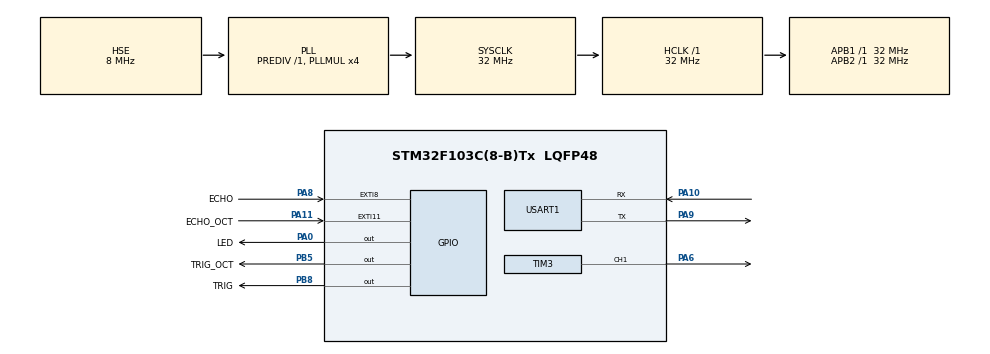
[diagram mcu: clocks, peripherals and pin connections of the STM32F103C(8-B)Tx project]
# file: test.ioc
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Mcu.Family=STM32F1
Mcu.Name=STM32F103C(8-B)Tx
Mcu.Package=LQFP48
NVIC.EXTI15_10_IRQn=true\:0\:0\:false\:false\:true\:true\:true\:true
NVIC.EXTI9_5_IRQn=true\:0\:0\:false\:false\:true\:true\:true\:true
NVIC.PriorityGroup=NVIC_PRIORITYGROUP_4
NVIC.TIM2_IRQn=true\:0\:0\:false\:false\:true\:true\:true\:true
NVIC.USART1_IRQn=true\:0\:0\:false\:false\:true\:true\:true\:true
PA0-WKUP.GPIO_Label=LED
PA0-WKUP.Signal=GPIO_Output
PA10.Mode=Asynchronous
PA10.Signal=USART1_RX
PA11.GPIO_Label=ECHO_OCT
PA11.GPIO_ModeDefaultEXTI=GPIO_MODE_IT_RISING_FALLING
PA11.GPIO_PuPd=GPIO_PULLDOWN
PA11.Signal=GPXTI11
PA13.Mode=Serial_Wire
PA13.Signal=SYS_JTMS-SWDIO
PA14.Mode=Serial_Wire
PA14.Signal=SYS_JTCK-SWCLK
PA6.Signal=S_TIM3_CH1
PA8.GPIO_Label=ECHO
PA8.GPIO_ModeDefaultEXTI=GPIO_MODE_IT_RISING_FALLING
PA8.GPIO_PuPd=GPIO_PULLDOWN
PA8.Signal=GPXTI8
PA9.Mode=Asynchronous
PA9.Signal=USART1_TX
PB5.GPIO_Label=TRIG_OCT
PB5.Signal=GPIO_Output
PB8.GPIO_Label=TRIG
PB8.Signal=GPIO_Output
PD0-OSC_IN.Mode=HSE-External-Oscillator
PD0-OSC_IN.Signal=RCC_OSC_IN
PD1-OSC_OUT.Mode=HSE-External-Oscillator
PD1-OSC_OUT.Signal=RCC_OSC_OUT
ProjectManager.HeapSize=0x200
ProjectManager.StackSize=0x400
ProjectManager.TargetToolchain=STM32CubeIDE
RCC.AHBFreq_Value=32000000
RCC.APB1Freq_Value=32000000
RCC.APB1TimFreq_Value=32000000
RCC.APB2Freq_Value=32000000
RCC.APB2TimFreq_Value=32000000
RCC.HCLKFreq_Value=32000000
RCC.PLLMUL=RCC_PLL_MUL4
RCC.PLLSourceVirtual=RCC_PLLSOURCE_HSE
RCC.SYSCLKFreq_VALUE=32000000
RCC.SYSCLKSource=RCC_SYSCLKSOURCE_PLLCLK
RCC.USBFreq_Value=32000000
SH.S_TIM3_CH1.0=TIM3_CH1,PWM Generation1 CH1
TIM2.Period=65535
TIM2.Prescaler=31
TIM3.AutoReloadPreload=TIM_AUTORELOAD_PRELOAD_ENABLE
TIM3.Channel-PWM\ Generation1\ CH1=TIM_CHANNEL_1
TIM3.OCMode_PWM-PWM\ Generation1\ CH1=TIM_OCMODE_PWM1
TIM3.Period=60000
TIM3.Prescaler=31
TIM3.Pulse-PWM\ Generation1\ CH1=30000
USART1.VirtualMode=VM_ASYNC
VP_TIM2_VS_ClockSourceINT.Mode=Internal
VP_TIM3_VS_ClockSourceINT.Mode=Internal
VP_TIM4_VS_ClockSourceINT.Mode=Internal
board=custom

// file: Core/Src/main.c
/* USER CODE BEGIN Header */
/**
 ******************************************************************************
 * @file           : main.c
 * @brief          : Main program body
 ******************************************************************************
 * @attention
 *
 * Copyright (c) 2025 STMicroelectronics.
 * All rights reserved.
 *
 * This software is licensed under terms that can be found in the LICENSE file
 * in the root directory of this software component.
 * If no LICENSE file comes with this software, it is provided AS-IS.
 *
 ******************************************************************************
 */
/* USER CODE END Header */
#include "main.h"

/* USER CODE BEGIN Includes */
#include "stdio.h"

#include "string.h"

/* USER CODE END Includes */

TIM_HandleTypeDef htim2;
TIM_HandleTypeDef htim3;
TIM_HandleTypeDef htim4;

UART_HandleTypeDef huart1;

/* USER CODE BEGIN PV */
sr04_t sr04_note = {
    .trig_port = TRIG_GPIO_Port,
    .trig_pin = TRIG_Pin,
    .echo_htim = & htim4,
    .capture_flag = 0,
    .time = 0,
    .time_begin = 0,
    .time_end = 0,
    .last_time = 20,
    .counter = 0,
};

sr04_t sr04_oct = {
    .trig_port = TRIG_OCT_GPIO_Port,
    .trig_pin = TRIG_OCT_Pin,
    .echo_htim = & htim2,
    .capture_flag = 0,
    .time = 0,
    .time_begin = 0,
    .time_end = 0,
    .last_time = 20,
    .counter = 0,
};

char trans_str[64] = {
    0,
};
uint32_t f, signal_time, n_octaves, n_notes, first_octave, distance_begin_note, distance_begin_oct, distance_end_note, distance_end_oct, width_note, width_oct, in_seg_note, last_in_seg_note, in_seg_oct, last_in_seg_oct, buf, width_seg_note, width_seg_oct;
uint32_t OctaveZero[7] = {
    16,
    18,
    21,
    22,
    25,
    28,
    31
};
uint32_t first_note = 16;
uint8_t bit;
uint8_t get_bits[5] = {
    0,
};
uint32_t dist_note_table[7][2];
    uint32_t dist_oct_table[6][2];
/* USER CODE END PV */

void SystemClock_Config(void);
static void MX_GPIO_Init(void);
static void MX_TIM2_Init(void);
static void MX_USART1_UART_Init(void);
static void MX_TIM3_Init(void);
static void MX_TIM4_Init(void);
/* USER CODE BEGIN PFP */
void Timer_OverflowHandler(void);
/* USER CODE END PFP */

/* USER CODE BEGIN 0 */
static void Tone(uint32_t Frequency) {
    TIM3 -> ARR = (1000000UL / Frequency) - 1; // Set The PWM Frequency
    TIM3 -> CCR1 = (TIM3 -> ARR >> 1); // Set Duty Cycle 50%
}

void sr04_trigger(sr04_t * sr04) {
    if (!(sr04 -> capture_flag)) {
        HAL_GPIO_WritePin(sr04 -> trig_port, sr04 -> trig_pin, GPIO_PIN_SET);
        HAL_Delay(1);
        HAL_GPIO_WritePin(sr04 -> trig_port, sr04 -> trig_pin, GPIO_PIN_RESET);
    } else {
        (sr04 -> counter) ++;
        if ((sr04 -> counter) == 5) {
            sr04 -> counter = 0;
            sr04 -> capture_flag = 0;
            sr04 -> echo_htim -> State = HAL_TIM_STATE_READY;
        }
    }
}

void sr04_measure(sr04_t * sr04) {
    if (sr04 -> echo_htim -> State == HAL_TIM_STATE_READY) //start timer if stopped
    {
        sr04 -> capture_flag = 1;
        __HAL_TIM_SET_COUNTER(sr04 -> echo_htim, 0x0000); // обнуление счётчика
        HAL_TIM_Base_Start_IT(sr04 -> echo_htim);

    } else if (sr04 -> echo_htim -> State == HAL_TIM_STATE_BUSY) //stop timer if started
    {
        HAL_TIM_Base_Stop_IT(sr04 -> echo_htim);
        signal_time = __HAL_TIM_GET_COUNTER(sr04 -> echo_htim);
        sr04 -> time = signal_time / 58;

        sr04 -> last_time = sr04 -> time;
        sr04 -> capture_flag = 0;
    }
}
void HAL_GPIO_EXTI_Callback(uint16_t GPIO_Pin) {
    if (GPIO_Pin == (ECHO_Pin)) {
        sr04_measure( & sr04_note);
    } else if (GPIO_Pin == (ECHO_OCT_Pin)) {
        sr04_measure( & sr04_oct);
    }

}

void init_note_table(uint32_t (*table)[7]) {
    uint32_t i, j;
    for (i = 0; i < 6; i++) {
        for (j = 0; j < 7; j++) {
            table[i][j] = OctaveZero[j] << (i + first_octave);
        }
    }
    width_note = ((sr04_note.time_end - sr04_note.time_begin + buf) / n_notes) + buf;
    width_seg_note = width_note - buf;
    width_oct = ((sr04_oct.time_end - sr04_oct.time_begin + buf) / n_octaves) + buf;
    width_seg_oct = width_oct - buf;
}

void init_dist_table(uint32_t (*table)[2], uint32_t begin, uint32_t end, uint32_t n) {
    uint32_t i;
    uint32_t width = (end - begin + buf) / n;
    for (i = 0; i < n; i++) {
        table[i][0] = begin - buf + i * width;
        table[i][1] = begin + (i + 1) * width;
    }
    if (begin<buf){
    	table[0][0]=0;
    }
}

void error() {
    HAL_UART_Transmit( & huart1, (uint8_t * )
        "Wrong input\n", 11, 1000);
}

void HAL_UART_RxCpltCallback(UART_HandleTypeDef * huart) {
    if (huart == & huart1) {
    	if (bit=='\n'){
    		bit=' ';
    		HAL_UART_Receive_IT( & huart1, (uint8_t * ) get_bits, 5);
    	}
    	else{
        if ((get_bits[0] == 'h') && (get_bits[1] == 'e') && (get_bits[2] == 'l') && (get_bits[3] == 'p') && (get_bits[4] == '\n')) {
            HAL_UART_Transmit( & huart1, (uint8_t * )
                "bn <digit> - set the beginning of note interval equal to <digit> cm. <digit> = 5..25\n"
                "ln <digit> - set the length of note interval equal to <digit> cm. <digit> = 74..99\n"
                "bo <digit> - set the ending of octave interval equal to <digit> cm. <digit> = 5..37\n"
                "lo <digit> - set the length of octave interval equal to <digit> cm. <digit> = 62..99\n"
                "no <digit> - set the number of octaves equal to <digit>. <digit> = 1..6\n"
                "fo <digit> - set the first octave equal to <digit> cm. <digit> = 3..8\n"
                "help - view this menu", 500, 1000);
        } else if ((get_bits[0] == 'b') && (get_bits[1] == 'n')) {
            if ((get_bits[2] == ' ') && (48 <= get_bits[3]) && (get_bits[3] <= 57)) {
                int digit1 = get_bits[3] - '0';
                if ((get_bits[4] == '\n') && (digit1 > 4)) {
                    sr04_note.time_begin = digit1;
                    init_dist_table(dist_note_table, sr04_note.time_begin, sr04_note.time_end, n_notes);
                } else if ((48 <= get_bits[4]) && (get_bits[4] <= 57)) {
                    int digit2 = get_bits[4] - '0';
                    int number = digit1 * 10 + digit2;
                    if (number < 26) {
                        sr04_note.time_begin = digit1 * 10 + digit2;
                        init_dist_table(dist_note_table, sr04_note.time_begin, sr04_note.time_end, n_notes);

                    } else {
                        error();
                    }
                } else {
                    error();
                }
            } else {
                error();
            }
        } else if ((get_bits[0] == 'l') && (get_bits[1] == 'n')) {
            if ((get_bits[2] == ' ') && (48 <= get_bits[3]) && (get_bits[3] <= 57)) {
                int digit1 = get_bits[3] - '0';
                if ((48 <= get_bits[4]) && (get_bits[4] <= 57)) {
                    int digit2 = get_bits[4] - '0';
                    int number = digit1 * 10 + digit2;
                    if ((74 <= number) && (number <= 99)) {
                        sr04_note.time_end = sr04_note.time_begin + digit1 * 10 + digit2;
                        init_dist_table(dist_note_table, sr04_note.time_begin, sr04_note.time_end, n_notes);
                    } else {
                        error();
                    }
                } else {
                    error();
                }
            } else {
                error();
            }
        } else if ((get_bits[0] == 'b') && (get_bits[1] == 'o')) {
            if ((get_bits[2] == ' ') && (48 <= get_bits[3]) && (get_bits[3] <= 57)) {
                int digit1 = get_bits[3] - '0';
                if ((get_bits[4] == '\n') && (digit1 > 4)) {
                    sr04_oct.time_begin = digit1;
                    init_dist_table(dist_oct_table, sr04_oct.time_begin, sr04_oct.time_end, n_octaves);
                } else if ((48 <= get_bits[4]) && (get_bits[4] <= 57)) {
                    int digit2 = get_bits[4] - '0';
                    int number = digit1 * 10 + digit2;
                    if (number < 38) {
                        sr04_oct.time_begin = digit1 * 10 + digit2;
                        init_dist_table(dist_oct_table, sr04_oct.time_begin, sr04_oct.time_end, n_octaves);
                    } else {
                        error();
                    }
                } else {
                    error();
                }
            } else {
                error();
            }
        } else if ((get_bits[0] == 'l') && (get_bits[1] == 'o')) {
            if ((get_bits[2] == ' ') && (48 <= get_bits[3]) && (get_bits[3] <= 57)) {
                int digit1 = get_bits[3] - '0';
                if ((48 <= get_bits[4]) && (get_bits[4] <= 57)) {
                    int digit2 = get_bits[4] - '0';
                    int number = digit1 * 10 + digit2;
                    if ((62 <= number) && (number <= 99)) {
                        sr04_oct.time_end = sr04_oct.time_begin + digit1 * 10 + digit2;
                        init_dist_table(dist_oct_table, sr04_oct.time_begin, sr04_oct.time_end, n_octaves);
                    } else {
                        error();
                    }
                } else {
                    error();
                }
            }
        } else if ((get_bits[0] == 'n') && (get_bits[1] == 'o')) {
            if ((get_bits[2] == ' ') && (48 <= get_bits[3]) && (get_bits[3] <= 57)) {
                int digit1 = get_bits[3] - '0';
                if ((get_bits[4] == '\n') && (digit1 >= 1) && (digit1 <= 6)) {
                    n_octaves = digit1;
                    init_dist_table(dist_oct_table, sr04_oct.time_begin, sr04_oct.time_end, n_octaves);
                }

            } else {
                error();
            }
    } else if ((get_bits[0] == 'f') && (get_bits[1] == 'o')) {
        if ((get_bits[2] == ' ') && (48 <= get_bits[3]) && (get_bits[3] <= 57)) {
            int digit1 = get_bits[3] - '0';
            if ((get_bits[4] == '\n') && ((n_octaves + digit1 - 1) <= 8) && (digit1 > 2)) {
                first_octave = digit1;
            }

        } else {
            error();
        }
    } else {
        error();
    }
    }
	if (get_bits[4] != '\n'){
	    HAL_UART_Receive_IT( & huart1, &bit, 1);
	}
	else{
		HAL_UART_Receive_IT( & huart1, (uint8_t * ) get_bits, 5);
	}
    }
}

/* USER CODE END 0 */

int main(void)
{

  /* MCU Configuration--------------------------------------------------------*/

  /* Reset of all peripherals, Initializes the Flash interface and the Systick. */
  HAL_Init();

  /* Configure the system clock */
  SystemClock_Config();

  /* Initialize all configured peripherals */
  MX_GPIO_Init();
  MX_TIM2_Init();
  MX_USART1_UART_Init();
  MX_TIM3_Init();
  MX_TIM4_Init();
  /* USER CODE BEGIN 2 */

    HAL_TIM_Base_Start_IT( & htim2);

    HAL_TIM_IC_Start_IT( & htim1, TIM_CHANNEL_1);
    HAL_TIM_IC_Start_IT( & htim1, TIM_CHANNEL_2);
    HAL_TIM_PWM_Start_IT( & htim3, TIM_CHANNEL_1);
    HAL_TIM_IC_Start_IT( & htim4, TIM_CHANNEL_1);

    HAL_UART_Transmit( & huart1, (uint8_t * )
        "Print help to view command list\n", 32, 1000);
  /* USER CODE END 2 */

  /* Infinite loop */
  /* USER CODE BEGIN WHILE */
    sr04_note.capture_flag = 1;
    sr04_oct.capture_flag = 1;
    n_octaves = 4;
   n_notes = 7;

    uint32_t table[6][7];
    first_octave = 3;
    distance_begin_note = 5;
    distance_end_note = 80;
    distance_begin_oct = 10;
    distance_end_oct = 60;
    buf = 10;
    sr04_note.time_begin = distance_begin_note;
    sr04_note.time_end = distance_end_note;
    sr04_oct.time_begin = distance_begin_oct;
    sr04_oct.time_end = distance_end_oct;

    init_note_table(table);
    init_dist_table(dist_note_table, sr04_note.time_begin, sr04_note.time_end, n_notes);
    init_dist_table(dist_oct_table, sr04_oct.time_begin, sr04_oct.time_end, n_octaves);

    sr04_note.capture_flag = 0;
    sr04_oct.capture_flag = 0;
    uint32_t prev_i, prev_j;
    prev_i = 0;
    prev_j = 0;
    HAL_UART_Receive_IT( & huart1, (uint8_t * ) get_bits, 5);
    while (1) {

        uint32_t i, j;

        HAL_Delay(50);
        sr04_trigger( & sr04_note);

        HAL_Delay(100);
        sr04_trigger( & sr04_oct);

        if (!((dist_note_table[prev_j][0] < sr04_note.time) && (sr04_note.time < dist_note_table[prev_j][1]))) {
        	j = ((sr04_note.time - sr04_note.time_begin) * n_notes) / (sr04_note.time_end - sr04_note.time_begin);
        }
        if (!((dist_oct_table[prev_i][0] < sr04_oct.time) && (sr04_oct.time < dist_oct_table[prev_i][1]))) {
        	i = ((sr04_oct.time - sr04_oct.time_begin) * n_octaves) / (sr04_oct.time_end - sr04_oct.time_begin);
        }

        if ((i < n_octaves) && (j < n_notes)) {
            f = table[i+first_octave-3][j];
            Tone(f);
            prev_i = i;
            prev_j = j;
        } else if (j > n_notes) {
            HAL_Delay(50);
            TIM3 -> CCR1 = 0;
        }
    /* USER CODE END WHILE */

    }
}

void SystemClock_Config(void)
{
  RCC_OscInitTypeDef RCC_OscInitStruct = {0};
  RCC_ClkInitTypeDef RCC_ClkInitStruct = {0};

  /** Initializes the RCC Oscillators according to the specified parameters
  * in the RCC_OscInitTypeDef structure.
  */
  RCC_OscInitStruct.OscillatorType = RCC_OSCILLATORTYPE_HSE;
  RCC_OscInitStruct.HSEState = RCC_HSE_ON;
  RCC_OscInitStruct.HSEPredivValue = RCC_HSE_PREDIV_DIV1;
  RCC_OscInitStruct.HSIState = RCC_HSI_ON;
  RCC_OscInitStruct.PLL.PLLState = RCC_PLL_ON;
  RCC_OscInitStruct.PLL.PLLSource = RCC_PLLSOURCE_HSE;
  RCC_OscInitStruct.PLL.PLLMUL = RCC_PLL_MUL4;
  if (HAL_RCC_OscConfig(&RCC_OscInitStruct) != HAL_OK)
  {
    Error_Handler();
  }

  /** Initializes the CPU, AHB and APB buses clocks
  */
  RCC_ClkInitStruct.ClockType = RCC_CLOCKTYPE_HCLK|RCC_CLOCKTYPE_SYSCLK
                              |RCC_CLOCKTYPE_PCLK1|RCC_CLOCKTYPE_PCLK2;
  RCC_ClkInitStruct.SYSCLKSource = RCC_SYSCLKSOURCE_PLLCLK;
  RCC_ClkInitStruct.AHBCLKDivider = RCC_SYSCLK_DIV1;
  RCC_ClkInitStruct.APB1CLKDivider = RCC_HCLK_DIV1;
  RCC_ClkInitStruct.APB2CLKDivider = RCC_HCLK_DIV1;

  if (HAL_RCC_ClockConfig(&RCC_ClkInitStruct, FLASH_LATENCY_1) != HAL_OK)
  {
    Error_Handler();
  }
}

static void MX_TIM2_Init(void)
{

  TIM_ClockConfigTypeDef sClockSourceConfig = {0};
  TIM_MasterConfigTypeDef sMasterConfig = {0};

  htim2.Instance = TIM2;
  htim2.Init.Prescaler = 31;
  htim2.Init.CounterMode = TIM_COUNTERMODE_UP;
  htim2.Init.Period = 65535;
  htim2.Init.ClockDivision = TIM_CLOCKDIVISION_DIV1;
  htim2.Init.AutoReloadPreload = TIM_AUTORELOAD_PRELOAD_DISABLE;
  if (HAL_TIM_Base_Init(&htim2) != HAL_OK)
  {
    Error_Handler();
  }
  sClockSourceConfig.ClockSource = TIM_CLOCKSOURCE_INTERNAL;
  if (HAL_TIM_ConfigClockSource(&htim2, &sClockSourceConfig) != HAL_OK)
  {
    Error_Handler();
  }
  sMasterConfig.MasterOutputTrigger = TIM_TRGO_RESET;
  sMasterConfig.MasterSlaveMode = TIM_MASTERSLAVEMODE_DISABLE;
  if (HAL_TIMEx_MasterConfigSynchronization(&htim2, &sMasterConfig) != HAL_OK)
  {
    Error_Handler();
  }

}

static void MX_TIM3_Init(void)
{

  TIM_ClockConfigTypeDef sClockSourceConfig = {0};
  TIM_MasterConfigTypeDef sMasterConfig = {0};
  TIM_OC_InitTypeDef sConfigOC = {0};

  htim3.Instance = TIM3;
  htim3.Init.Prescaler = 31;
  htim3.Init.CounterMode = TIM_COUNTERMODE_UP;
  htim3.Init.Period = 60000;
  htim3.Init.ClockDivision = TIM_CLOCKDIVISION_DIV1;
  htim3.Init.AutoReloadPreload = TIM_AUTORELOAD_PRELOAD_ENABLE;
  if (HAL_TIM_Base_Init(&htim3) != HAL_OK)
  {
    Error_Handler();
  }
  sClockSourceConfig.ClockSource = TIM_CLOCKSOURCE_INTERNAL;
  if (HAL_TIM_ConfigClockSource(&htim3, &sClockSourceConfig) != HAL_OK)
  {
    Error_Handler();
  }
  if (HAL_TIM_PWM_Init(&htim3) != HAL_OK)
  {
    Error_Handler();
  }
  sMasterConfig.MasterOutputTrigger = TIM_TRGO_RESET;
  sMasterConfig.MasterSlaveMode = TIM_MASTERSLAVEMODE_DISABLE;
  if (HAL_TIMEx_MasterConfigSynchronization(&htim3, &sMasterConfig) != HAL_OK)
  {
    Error_Handler();
  }
  sConfigOC.OCMode = TIM_OCMODE_PWM1;
  sConfigOC.Pulse = 30000;
  sConfigOC.OCPolarity = TIM_OCPOLARITY_HIGH;
  sConfigOC.OCFastMode = TIM_OCFAST_DISABLE;
  if (HAL_TIM_PWM_ConfigChannel(&htim3, &sConfigOC, TIM_CHANNEL_1) != HAL_OK)
  {
    Error_Handler();
  }
  HAL_TIM_MspPostInit(&htim3);

}

static void MX_TIM4_Init(void)
{

  TIM_ClockConfigTypeDef sClockSourceConfig = {0};
  TIM_MasterConfigTypeDef sMasterConfig = {0};

  htim4.Instance = TIM4;
  htim4.Init.Prescaler = 0;
  htim4.Init.CounterMode = TIM_COUNTERMODE_UP;
  htim4.Init.Period = 65535;
  htim4.Init.ClockDivision = TIM_CLOCKDIVISION_DIV1;
  htim4.Init.AutoReloadPreload = TIM_AUTORELOAD_PRELOAD_DISABLE;
  if (HAL_TIM_Base_Init(&htim4) != HAL_OK)
  {
    Error_Handler();
  }
  sClockSourceConfig.ClockSource = TIM_CLOCKSOURCE_INTERNAL;
  if (HAL_TIM_ConfigClockSource(&htim4, &sClockSourceConfig) != HAL_OK)
  {
    Error_Handler();
  }
  sMasterConfig.MasterOutputTrigger = TIM_TRGO_RESET;
  sMasterConfig.MasterSlaveMode = TIM_MASTERSLAVEMODE_DISABLE;
  if (HAL_TIMEx_MasterConfigSynchronization(&htim4, &sMasterConfig) != HAL_OK)
  {
    Error_Handler();
  }

}

static void MX_USART1_UART_Init(void)
{

  huart1.Instance = USART1;
  huart1.Init.BaudRate = 115200;
  huart1.Init.WordLength = UART_WORDLENGTH_8B;
  huart1.Init.StopBits = UART_STOPBITS_1;
  huart1.Init.Parity = UART_PARITY_NONE;
  huart1.Init.Mode = UART_MODE_TX_RX;
  huart1.Init.HwFlowCtl = UART_HWCONTROL_NONE;
  huart1.Init.OverSampling = UART_OVERSAMPLING_16;
  if (HAL_UART_Init(&huart1) != HAL_OK)
  {
    Error_Handler();
  }

}

static void MX_GPIO_Init(void)
{
  GPIO_InitTypeDef GPIO_InitStruct = {0};

  /* GPIO Ports Clock Enable */
  __HAL_RCC_GPIOD_CLK_ENABLE();
  __HAL_RCC_GPIOA_CLK_ENABLE();
  __HAL_RCC_GPIOB_CLK_ENABLE();

  /*Configure GPIO pin Output Level */
  HAL_GPIO_WritePin(LED_GPIO_Port, LED_Pin, GPIO_PIN_RESET);

  /*Configure GPIO pin Output Level */
  HAL_GPIO_WritePin(GPIOB, TRIG_OCT_Pin|TRIG_Pin, GPIO_PIN_RESET);

  /*Configure GPIO pin : LED_Pin */
  GPIO_InitStruct.Pin = LED_Pin;
  GPIO_InitStruct.Mode = GPIO_MODE_OUTPUT_PP;
  GPIO_InitStruct.Pull = GPIO_NOPULL;
  GPIO_InitStruct.Speed = GPIO_SPEED_FREQ_LOW;
  HAL_GPIO_Init(LED_GPIO_Port, &GPIO_InitStruct);

  /*Configure GPIO pins : ECHO_Pin ECHO_OCT_Pin */
  GPIO_InitStruct.Pin = ECHO_Pin|ECHO_OCT_Pin;
  GPIO_InitStruct.Mode = GPIO_MODE_IT_RISING_FALLING;
  GPIO_InitStruct.Pull = GPIO_PULLDOWN;
  HAL_GPIO_Init(GPIOA, &GPIO_InitStruct);

  /*Configure GPIO pins : TRIG_OCT_Pin TRIG_Pin */
  GPIO_InitStruct.Pin = TRIG_OCT_Pin|TRIG_Pin;
  GPIO_InitStruct.Mode = GPIO_MODE_OUTPUT_PP;
  GPIO_InitStruct.Pull = GPIO_NOPULL;
  GPIO_InitStruct.Speed = GPIO_SPEED_FREQ_LOW;
  HAL_GPIO_Init(GPIOB, &GPIO_InitStruct);

  /* EXTI interrupt init*/
  HAL_NVIC_SetPriority(EXTI9_5_IRQn, 0, 0);
  HAL_NVIC_EnableIRQ(EXTI9_5_IRQn);

  HAL_NVIC_SetPriority(EXTI15_10_IRQn, 0, 0);
  HAL_NVIC_EnableIRQ(EXTI15_10_IRQn);

}

void Error_Handler(void)
{
    __disable_irq();
    while (1) {}
}
